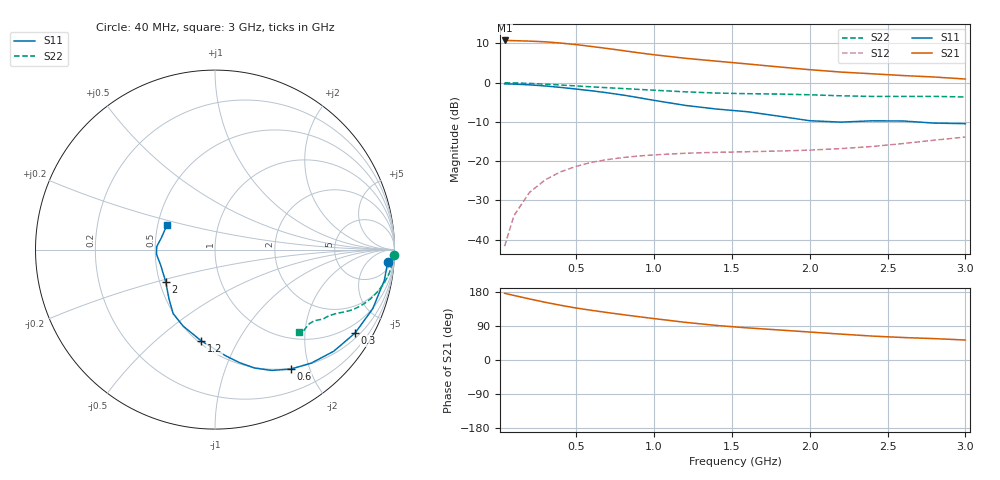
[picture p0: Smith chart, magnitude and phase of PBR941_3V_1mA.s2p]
! Filename:  PBR941B.S2P  Version:  3.0
! Philips part #:  PBR941  Date: July 1998
! Bias condition:  Vce=3V, Ic=1.0mA
#  MHz  S  MA  R 50
! Freq  S11  S21  S12  S22
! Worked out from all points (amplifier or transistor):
!   21 points, 40 MHz to 3 GHz, reference 50 ohm
!   highest |S21| = 10.8 dB at 40 MHz (marker M1)
!   |S21| within 3 dB of that: start of sweep to 875.2 MHz
!   unconditionally stable (mu >= 1): 1.895 GHz to end of sweep
!   at 300 MHz: K = 0.18, MSG = 17.6 dB, |S12| = -24.8 dB
!   at 1 GHz: K = 0.55, MSG = 12.8 dB, |S12| = -18.4 dB
!   at 3 GHz: K = 1.07, MAG = 5.8 dB, |S12| = -13.8 dB
!   S11 on the Smith chart (normalised r, x): 40 MHz: 11, -22; 300 MHz: 0.66, -3.52; 600 MHz: 0.49, -1.71; 1.2 GHz: 0.52, -0.72; 2 GHz: 0.54, -0.22; 3 GHz: 0.56, +0.17
40  0.965 -4.1  3.449 176.1  0.008286 85.0  0.9972 -1.6
100  0.9588 -10.3  3.428 170.3  0.02031 83.9  0.9931 -4.0
200  0.9385 -20.6  3.382 161.2  0.04004 77.8  0.9789 -7.9
300  0.9084 -30.8  3.315 152.4  0.05782 72.5  0.9584 -11.5
400  0.8707 -40.6  3.194 144.4  0.07338 67.6  0.9338 -14.8
500  0.8292 -49.7  3.053 137.1  0.08609 63.7  0.9092 -17.5
600  0.7881 -57.7  2.889 130.9  0.09708 60.1  0.8848 -19.8
700  0.7437 -64.8  2.725 125.2  0.1049 57.5  0.8626 -21.7
800  0.696 -71.5  2.561 119.7  0.1114 55.5  0.8419 -23.2
900  0.645 -77.7  2.403 114.4  0.1165 53.6  0.8217 -24.5
1000  0.5956 -84.2  2.268 109.3  0.1204 52.3  0.8018 -25.6
1200  0.514 -98.6  2.046 99.4  0.1264 50.4  0.7648 -27.7
1400  0.462 -112.5  1.88 91.2  0.1297 50.0  0.7377 -29.8
1600  0.4266 -123.1  1.732 84.7  0.132 52.1  0.7243 -31.4
1800  0.3754 -133.1  1.589 79.3  0.1348 55.4  0.7165 -32.7
2000  0.3277 -147.0  1.464 73.8  0.1385 58.7  0.7014 -33.9
2200  0.3147 -163.8  1.365 68.3  0.1448 62.5  0.6808 -35.6
2400  0.3269 -175.4  1.298 63.2  0.1538 66.7  0.6686 -38.1
2600  0.3252 177.1  1.232 59.3  0.168 71.0  0.6683 -40.9
2800  0.3057 167.5  1.181 56.4  0.1853 74.4  0.6694 -42.8
3000  0.3007 152.4  1.113 52.7  0.2032 76.8  0.6574 -44.3
